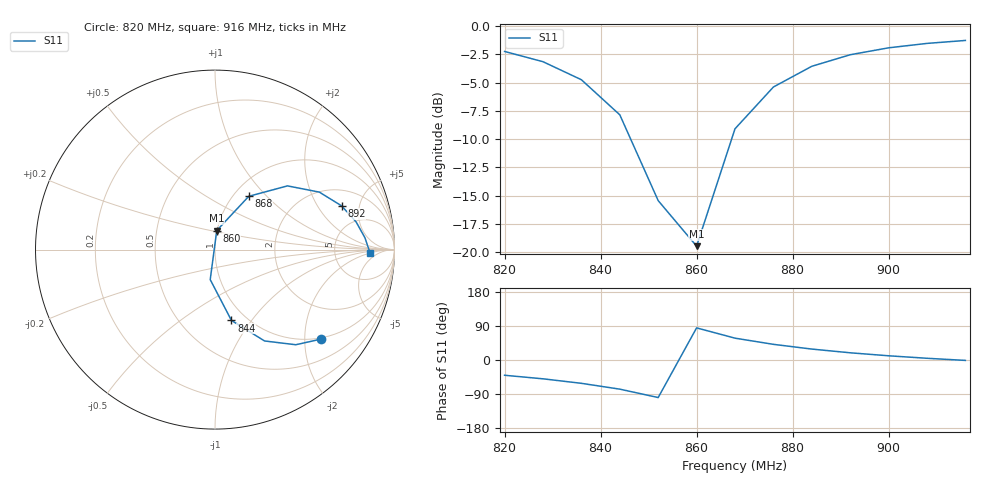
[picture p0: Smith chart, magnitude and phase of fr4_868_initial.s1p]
# Hz S RI R 50
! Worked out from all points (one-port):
!   13 points, 820 MHz to 916 MHz, reference 50 ohm
!   lowest |S11| = -19.5 dB at 860 MHz (marker M1), VSWR 1.24, Z = 49.8 + j10.7 ohm
!   |S11| at or under -10 dB: 846.3 MHz to 867.3 MHz (21.02 MHz wide, 2.45 % of centre)
!   S11 on the Smith chart (normalised r, x): 820 MHz: 0.97, -2.39; 844 MHz: 0.85, -0.80; 860 MHz: 1.00, +0.21; 868 MHz: 1.17, +0.79; 892 MHz: 3.03, +3.34; 916 MHz: 13, -2
8.2e8  0.5889 -0.4991
8.28e8  0.4503 -0.5301
8.36e8  0.2759 -0.509
8.44e8  0.0916 -0.3947
8.52e8  -0.0266 -0.1671
8.6e8  0.00971 0.1061
8.68e8  0.1881 0.2969
8.76e8  0.4037 0.355
8.84e8  0.5815 0.3202
8.92e8  0.7057 0.2434
9e8  0.786 0.1545
9.08e8  0.8352 0.0664
9.16e8  0.8632 -0.0162
